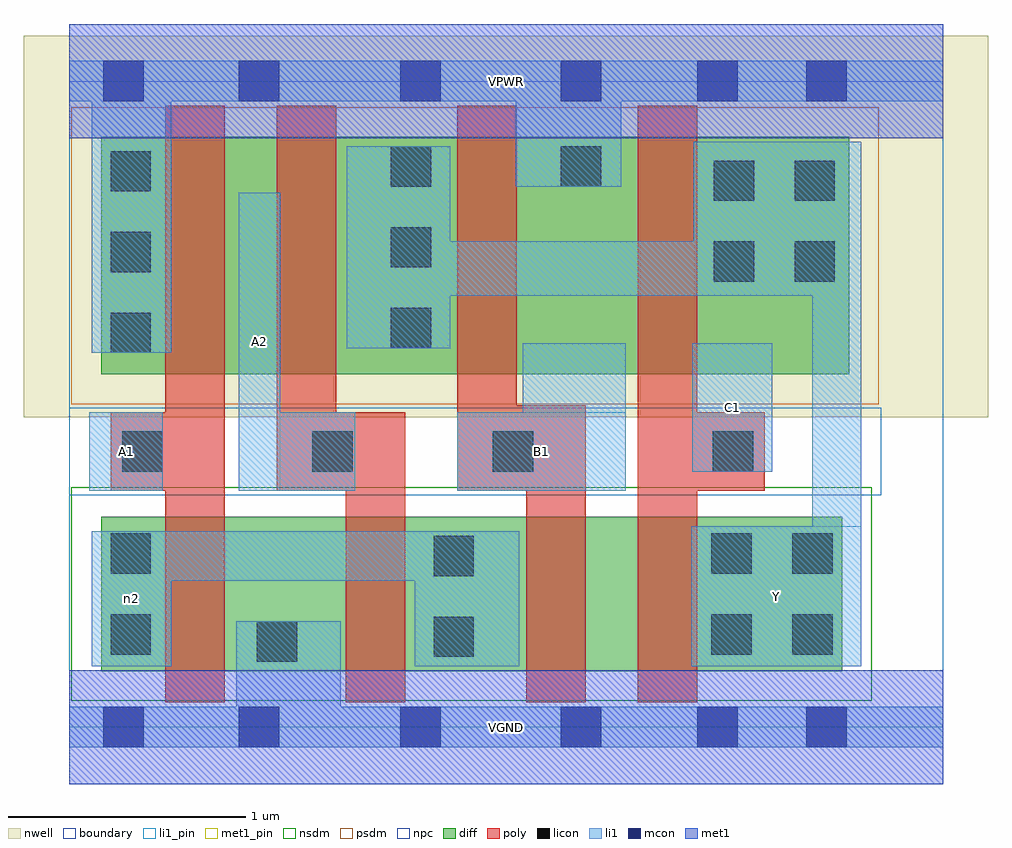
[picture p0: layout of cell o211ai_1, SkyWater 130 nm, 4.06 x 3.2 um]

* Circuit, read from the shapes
.subckt o211ai_1 A1 A2 B1 C1 VGND VPWR Y n2
XM1 VGND A1 n2 VSUBS sky130_fd_pr__nfet_01v8 w=0.65 l=0.25
XM2 n2 A2 VGND VSUBS sky130_fd_pr__nfet_01v8 w=0.65 l=0.25
XM3 n1 B1 n2 VSUBS sky130_fd_pr__nfet_01v8 w=0.65 l=0.25
XM4 Y C1 n1 VSUBS sky130_fd_pr__nfet_01v8 w=0.65 l=0.25
XM5 n3 A1 VPWR n4 sky130_fd_pr__pfet_01v8 w=1 l=0.25
XM6 Y A2 n3 n4 sky130_fd_pr__pfet_01v8 w=1 l=0.25
XM7 VPWR B1 Y n4 sky130_fd_pr__pfet_01v8 w=1 l=0.25
XM8 Y C1 VPWR n4 sky130_fd_pr__pfet_01v8 w=1 l=0.25
.ends

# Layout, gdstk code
import gdstk
lib = gdstk.Library(unit=1e-6, precision=1e-09)
def R(c, l, rs):  # rectangles x0, y0, x1, y1
    for r in rs: c.add(gdstk.rectangle(r[:2], r[2:], *l))
def A(c, l, x, y, w, h, nx, ny, dx, dy):  # array of equal rectangles
    R(c, l, [(x+i*dx, y+j*dy, x+i*dx+w, y+j*dy+h) for i in range(nx) for j in range(ny)])
nwell = (64, 20)
diff = (65, 20)
poly = (66, 20)
licon = (66, 44)
li1_pin = (67, 16)
li1 = (67, 20)
mcon = (67, 44)
met1_pin = (68, 16)
met1 = (68, 20)
nsdm = (93, 44)
psdm = (94, 20)
npc = (95, 20)
boundary = (235, 4)

o211ai_1 = lib.new_cell('o211ai_1')
R(o211ai_1, nwell, [(-0.19,1.305,3.87,2.91), (0,1.305,3.68,2.91)])
R(o211ai_1, diff, [(0.135,0.235,3.255,0.885), (0.135,1.485,3.285,2.485)])
R(o211ai_1, poly, [(0.405,0.105,0.655,2.615), (1.165,0.105,1.415,1.325), (1.925,0.105,2.175,1.355), (2.395,0.105,2.645,2.615), (0.175,0.995,0.655,1.325), (0.875,0.995,1.125,2.615), (0.875,0.995,1.415,1.325), (1.635,0.995,1.885,2.615), (1.635,0.995,2.175,1.355), (2.395,0.995,2.93,1.325)])
A(o211ai_1, licon, 0.175, 1.575, 0.17, 0.17, 1, 3, 0, 0.34)
A(o211ai_1, licon, 1.355, 1.595, 0.17, 0.17, 1, 3, 0, 0.34)
R(o211ai_1, licon, [(0.79,0.275,0.96,0.445), (1.535,0.295,1.705,0.465), (0.175,0.305,0.345,0.475), (2.705,0.305,2.875,0.475), (3.045,0.305,3.215,0.475), (1.535,0.635,1.705,0.805), (0.175,0.645,0.345,0.815), (2.705,0.645,2.875,0.815), (3.045,0.645,3.215,0.815), (0.225,1.075,0.395,1.245), (1.025,1.075,1.195,1.245), (1.785,1.075,1.955,1.245), (2.71,1.075,2.88,1.245), (2.715,1.875,2.885,2.045), (3.055,1.875,3.225,2.045), (2.715,2.215,2.885,2.385), (3.055,2.215,3.225,2.385), (2.07,2.275,2.24,2.445)])
R(o211ai_1, li1_pin, [(2.62,0.255,3.335,0.845), (0.085,0.995,0.395,1.325), (0.715,0.995,0.89,2.25), (1.635,0.995,2.345,1.325), (2.625,1.075,2.96,1.615)])
R(o211ai_1, li1, [(0,-0.085,3.68,0.085), (0.705,-0.085,1.145,0.445), (0.095,0.255,0.43,0.825), (1.455,0.255,1.895,0.825), (2.62,0.255,3.335,0.845), (3.13,0.255,3.335,2.465), (0.095,0.615,1.895,0.825), (0.085,0.995,0.395,1.325), (0.715,0.995,0.89,2.25), (0.715,0.995,1.205,1.325), (1.635,0.995,2.345,1.325), (1.91,0.995,2.345,1.615), (2.625,1.075,2.96,1.615), (0.095,1.575,0.43,2.805), (1.17,1.595,1.605,2.445), (1.17,1.815,3.335,2.045), (2.63,1.815,3.335,2.465), (1.88,2.275,2.325,2.805), (0,2.635,3.68,2.805)])
R(o211ai_1, mcon, [(0.145,-0.085,0.315,0.085), (0.715,-0.085,0.885,0.085), (1.395,-0.085,1.565,0.085), (2.07,-0.085,2.24,0.085), (2.645,-0.085,2.815,0.085), (3.105,-0.085,3.275,0.085), (0.145,2.635,0.315,2.805), (0.715,2.635,0.885,2.805), (1.395,2.635,1.565,2.805), (2.07,2.635,2.24,2.805), (2.645,2.635,2.815,2.805), (3.105,2.635,3.275,2.805)])
R(o211ai_1, met1_pin, [(0,-0.24,3.68,0.24), (0,2.48,3.68,2.96)])
R(o211ai_1, met1, [(0,-0.24,3.68,0.24), (0,2.48,3.68,2.96)])
R(o211ai_1, nsdm, [(0.01,0.11,3.38,1.01)])
R(o211ai_1, psdm, [(0.01,1.36,3.41,2.61)])
R(o211ai_1, npc, [(0,0.975,3.42,1.345)])
R(o211ai_1, boundary, [(0,0,3.68,2.72)])
o211ai_1.add(gdstk.Label('A1', (0.24,1.16), layer=67, texttype=5))
o211ai_1.add(gdstk.Label('A2', (0.802,1.622), layer=67, texttype=5))
o211ai_1.add(gdstk.Label('B1', (1.99,1.16), layer=67, texttype=5))
o211ai_1.add(gdstk.Label('C1', (2.792,1.345), layer=67, texttype=5))
o211ai_1.add(gdstk.Label('Y', (2.977,0.55), layer=67, texttype=5))
o211ai_1.add(gdstk.Label('n2', (0.262,0.54), layer=67, texttype=5))
o211ai_1.add(gdstk.Label('VPWR', (1.84,2.72), layer=68, texttype=5))
o211ai_1.add(gdstk.Label('VGND', (1.84,0), layer=68, texttype=5))
o211ai_1.add(gdstk.Label('A1', (0.24,1.16), layer=67, texttype=16))
o211ai_1.add(gdstk.Label('A2', (0.802,1.622), layer=67, texttype=16))
o211ai_1.add(gdstk.Label('B1', (1.99,1.16), layer=67, texttype=16))
o211ai_1.add(gdstk.Label('C1', (2.792,1.345), layer=67, texttype=16))
o211ai_1.add(gdstk.Label('Y', (2.977,0.55), layer=67, texttype=16))
o211ai_1.add(gdstk.Label('VPWR', (1.84,2.72), layer=68, texttype=16))
o211ai_1.add(gdstk.Label('VGND', (1.84,0), layer=68, texttype=16))

lib.write_gds('o211ai_1.gds')
